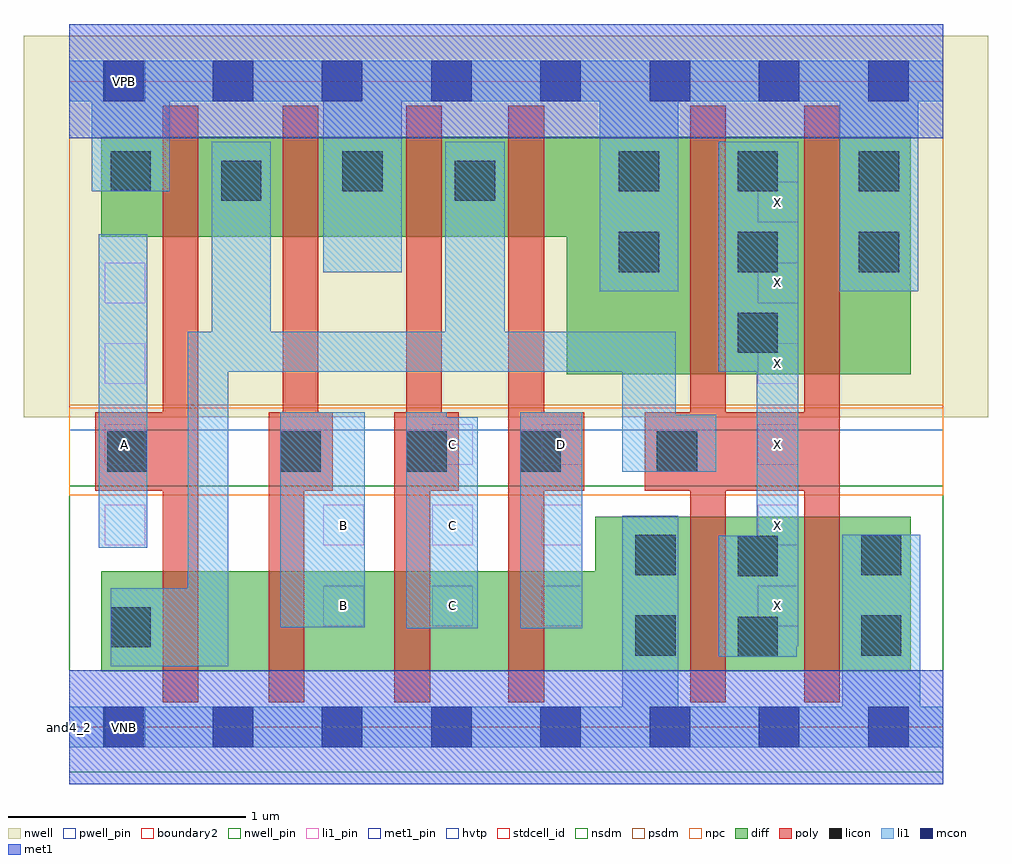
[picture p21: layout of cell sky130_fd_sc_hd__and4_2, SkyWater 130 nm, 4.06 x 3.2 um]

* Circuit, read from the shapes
.subckt sky130_fd_sc_hd__and4_2 A B C D VGND VNB VPB VPWR X
XM1 n1 A n2 VNB sky130_fd_pr__nfet_01v8 w=0.42 l=0.15
XM2 n3 B n1 VNB sky130_fd_pr__nfet_01v8 w=0.42 l=0.15
XM3 n4 C n3 VNB sky130_fd_pr__nfet_01v8 w=0.42 l=0.15
XM4 VGND D n4 VNB sky130_fd_pr__nfet_01v8 w=0.42 l=0.15
XM5 X n2 VGND VNB sky130_fd_pr__nfet_01v8 w=0.65 l=0.15 m=2
XM6 n2 A VPWR VPB sky130_fd_pr__pfet_01v8_hvt w=0.42 l=0.15
XM7 VPWR B n2 VPB sky130_fd_pr__pfet_01v8_hvt w=0.42 l=0.15
XM8 n2 C VPWR VPB sky130_fd_pr__pfet_01v8_hvt w=0.42 l=0.15
XM9 VPWR D n2 VPB sky130_fd_pr__pfet_01v8_hvt w=0.42 l=0.15
XM10 X n2 VPWR VPB sky130_fd_pr__pfet_01v8_hvt w=1 l=0.15 m=2
.ends

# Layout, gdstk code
import gdstk
lib = gdstk.Library(unit=1e-6, precision=1e-09)
def R(c, l, rs):  # rectangles x0, y0, x1, y1
    for r in rs: c.add(gdstk.rectangle(r[:2], r[2:], *l))
def A(c, l, x, y, w, h, nx, ny, dx, dy):  # array of equal rectangles
    R(c, l, [(x+i*dx, y+j*dy, x+i*dx+w, y+j*dy+h) for i in range(nx) for j in range(ny)])
def P(c, l, *ps):  # polygons
    for p in ps: c.add(gdstk.Polygon(p, *l))
nwell_pin = (64, 16)
nwell = (64, 20)
diff = (65, 20)
poly = (66, 20)
licon = (66, 44)
li1_pin = (67, 16)
li1 = (67, 20)
mcon = (67, 44)
met1_pin = (68, 16)
met1 = (68, 20)
hvtp = (78, 44)
stdcell_id = (81, 4)
nsdm = (93, 44)
psdm = (94, 20)
npc = (95, 20)
pwell_pin = (122, 16)
boundary2 = (236, 0)

sky130_fd_sc_hd__and4_2 = lib.new_cell('sky130_fd_sc_hd__and4_2')
R(sky130_fd_sc_hd__and4_2, nwell_pin, [(0.15,2.635,0.32,2.805)])
R(sky130_fd_sc_hd__and4_2, nwell, [(-0.19,1.305,3.87,2.91)])
P(sky130_fd_sc_hd__and4_2, diff, [(3.545,0.885),(2.215,0.885),(2.215,0.655),(0.135,0.655),(0.135,0.235),(3.545,0.235)],
  [(3.545,2.485),(0.135,2.485),(0.135,2.065),(2.095,2.065),(2.095,1.485),(3.545,1.485)])
P(sky130_fd_sc_hd__and4_2, poly, [(3.245,2.615),(3.095,2.615),(3.095,1.325),(2.765,1.325),(2.765,2.615),(2.615,2.615),(2.615,1.325),(2.425,1.325),(2.425,0.995),(2.615,0.995),(2.615,0.105),(2.765,0.105),(2.765,0.995),(3.095,0.995),(3.095,0.105),(3.245,0.105)],
  [(2.17,1.325),(2,1.325),(2,2.615),(1.85,2.615),(1.85,0.105),(2,0.105),(2,0.995),(2.17,0.995)],
  [(1.64,1.325),(1.57,1.325),(1.57,2.615),(1.42,2.615),(1.42,1.325),(1.37,1.325),(1.37,0.105),(1.52,0.105),(1.52,0.995),(1.64,0.995)],
  [(1.11,1.325),(1.05,1.325),(1.05,2.615),(0.9,2.615),(0.9,1.325),(0.84,1.325),(0.84,0.105),(0.99,0.105),(0.99,0.995),(1.11,0.995)],
  [(0.545,2.615),(0.395,2.615),(0.395,1.325),(0.11,1.325),(0.11,0.995),(0.395,0.995),(0.395,0.105),(0.545,0.105)])
A(sky130_fd_sc_hd__and4_2, licon, 2.815, 1.575, 0.17, 0.17, 1, 3, 0, 0.34)
R(sky130_fd_sc_hd__and4_2, licon, [(2.815,0.295,2.985,0.465), (2.385,0.3,2.555,0.47), (3.335,0.3,3.505,0.47), (0.175,0.335,0.345,0.505), (2.815,0.635,2.985,0.805), (2.385,0.64,2.555,0.81), (3.335,0.64,3.505,0.81), (0.16,1.075,0.33,1.245), (0.89,1.075,1.06,1.245), (1.42,1.075,1.59,1.245), (1.9,1.075,2.07,1.245), (2.475,1.075,2.645,1.245), (2.315,1.915,2.485,2.085), (3.325,1.915,3.495,2.085), (0.64,2.215,0.81,2.385), (1.625,2.215,1.795,2.385), (0.175,2.255,0.345,2.425), (1.15,2.255,1.32,2.425), (2.315,2.255,2.485,2.425), (3.325,2.255,3.495,2.425)])
A(sky130_fd_sc_hd__and4_2, li1_pin, 1.07, 0.425, 0.17, 0.17, 3, 2, 0.46, 0.34)
A(sky130_fd_sc_hd__and4_2, li1_pin, 2.9, 0.425, 0.17, 0.17, 1, 6, 0, 0.34)
A(sky130_fd_sc_hd__and4_2, li1_pin, 0.15, 0.765, 0.17, 0.17, 1, 4, 0, 0.34)
R(sky130_fd_sc_hd__and4_2, li1_pin, [(1.53,1.105,1.7,1.275), (1.99,1.105,2.16,1.275)])
R(sky130_fd_sc_hd__and4_2, li1, [(1.9,0.415,2.16,1.325), (0.89,0.42,1.245,1.325), (0.125,0.755,0.33,2.075)])
P(sky130_fd_sc_hd__and4_2, li1, [(3.68,0.085),(3.585,0.085),(3.585,0.81),(3.255,0.81),(3.255,0.085),(2.565,0.085),(2.565,0.89),(2.33,0.89),(2.33,0.085),(0,0.085),(0,-0.085),(3.68,-0.085)],
  [(3.68,2.805),(0,2.805),(0,2.635),(0.095,2.635),(0.095,2.255),(0.425,2.255),(0.425,2.635),(1.07,2.635),(1.07,1.915),(1.4,1.915),(1.4,2.635),(2.235,2.635),(2.235,1.835),(2.565,1.835),(2.565,2.635),(3.245,2.635),(3.245,1.835),(3.575,1.835),(3.575,2.635),(3.68,2.635)],
  [(3.07,2.465),(2.735,2.465),(2.735,1.495),(2.895,1.495),(2.895,0.805),(2.735,0.805),(2.735,0.295),(3.065,0.295),(3.065,0.34),(3.07,0.34)],
  [(2.555,1.665),(1.835,1.665),(1.835,2.465),(1.585,2.465),(1.585,1.665),(0.85,1.665),(0.85,2.465),(0.6,2.465),(0.6,1.665),(0.5,1.665),(0.5,0.585),(0.175,0.585),(0.175,0.255),(0.67,0.255),(0.67,1.495),(2.33,1.495),(2.33,1.075),(2.725,1.075),(2.725,1.315),(2.555,1.315)],
  [(1.72,1.305),(1.59,1.305),(1.59,1.325),(1.42,1.325),(1.42,0.415),(1.72,0.415)])
A(sky130_fd_sc_hd__and4_2, mcon, 0.145, -0.085, 0.17, 0.17, 8, 2, 0.46, 2.72)
R(sky130_fd_sc_hd__and4_2, met1_pin, [(0.15,-0.085,0.32,0.085), (0.15,2.635,0.32,2.805)])
R(sky130_fd_sc_hd__and4_2, hvtp, [(0,1.25,3.68,2.72)])
R(sky130_fd_sc_hd__and4_2, stdcell_id, [(0,0,3.68,2.72)])
R(sky130_fd_sc_hd__and4_2, nsdm, [(0,-0.19,3.68,1.015)])
R(sky130_fd_sc_hd__and4_2, psdm, [(0,1.355,3.68,2.91)])
R(sky130_fd_sc_hd__and4_2, npc, [(0,0.975,3.68,1.345)])
R(sky130_fd_sc_hd__and4_2, pwell_pin, [(0.15,-0.085,0.32,0.085)])
R(sky130_fd_sc_hd__and4_2, boundary2, [(0,0,3.68,2.72)])
sky130_fd_sc_hd__and4_2.add(gdstk.FlexPath([(0,2.72),(3.68,2.72)], 0.48, ends="flush", simple_path=True, layer=68, datatype=20))  # met1
sky130_fd_sc_hd__and4_2.add(gdstk.FlexPath([(0,0),(3.68,0)], 0.48, ends="flush", simple_path=True, layer=68, datatype=20))  # met1
sky130_fd_sc_hd__and4_2.add(gdstk.Label('X', (2.985,2.21), layer=67, texttype=5))
sky130_fd_sc_hd__and4_2.add(gdstk.Label('C', (1.615,0.51), layer=67, texttype=5))
sky130_fd_sc_hd__and4_2.add(gdstk.Label('C', (1.615,0.85), layer=67, texttype=5))
sky130_fd_sc_hd__and4_2.add(gdstk.Label('A', (0.235,1.19), layer=67, texttype=5))
sky130_fd_sc_hd__and4_2.add(gdstk.Label('C', (1.615,1.19), layer=67, texttype=5))
sky130_fd_sc_hd__and4_2.add(gdstk.Label('B', (1.155,0.51), layer=67, texttype=5))
sky130_fd_sc_hd__and4_2.add(gdstk.Label('B', (1.155,0.85), layer=67, texttype=5))
sky130_fd_sc_hd__and4_2.add(gdstk.Label('D', (2.075,1.19), layer=67, texttype=5))
sky130_fd_sc_hd__and4_2.add(gdstk.Label('X', (2.985,0.51), layer=67, texttype=5))
sky130_fd_sc_hd__and4_2.add(gdstk.Label('X', (2.985,0.85), layer=67, texttype=5))
sky130_fd_sc_hd__and4_2.add(gdstk.Label('X', (2.985,1.19), layer=67, texttype=5))
sky130_fd_sc_hd__and4_2.add(gdstk.Label('X', (2.985,1.53), layer=67, texttype=5))
sky130_fd_sc_hd__and4_2.add(gdstk.Label('X', (2.985,1.87), layer=67, texttype=5))
sky130_fd_sc_hd__and4_2.add(gdstk.Label('VNB', (0.235,0), layer=64, texttype=59))
sky130_fd_sc_hd__and4_2.add(gdstk.Label('VPB', (0.235,2.72), layer=64, texttype=5))
sky130_fd_sc_hd__and4_2.add(gdstk.Label('VGND', (0.23,0), layer=68, texttype=5))
sky130_fd_sc_hd__and4_2.add(gdstk.Label('VPWR', (0.23,2.72), layer=68, texttype=5))
sky130_fd_sc_hd__and4_2.add(gdstk.Label('and4_2', (0,0), layer=83, texttype=44))

lib.write_gds('sky130_fd_sc_hd__and4_2.gds')
